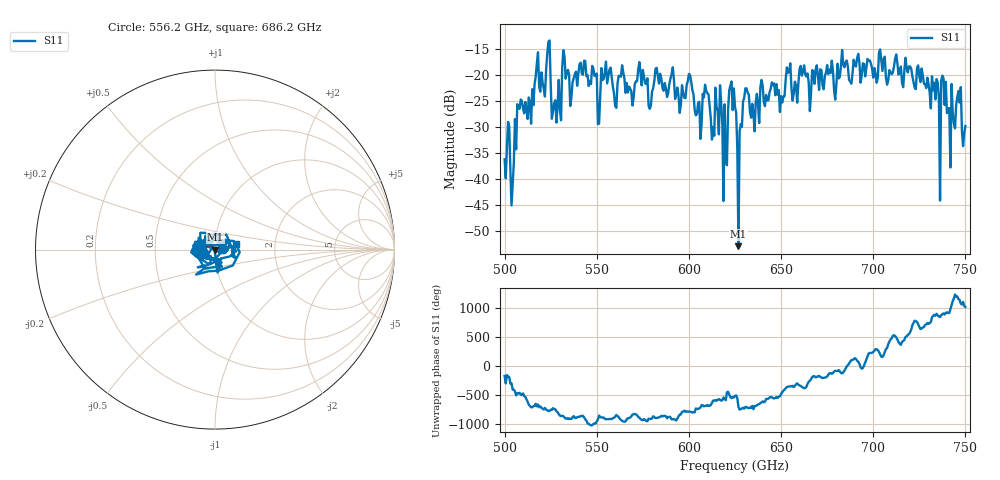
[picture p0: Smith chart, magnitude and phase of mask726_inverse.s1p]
!Created with skrf (http://scikit-rf.org).
# GHz S MA R 50.0
!freq magS11 angS11
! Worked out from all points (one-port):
!   401 points, 500 GHz to 750 GHz, reference 50 ohm
!   lowest |S11| = -52.8 dB at 626.9 GHz (marker M1), VSWR 1.00, Z = 50.2 + j0.0492 ohm
!   |S11| at or under -10 dB: start of sweep to end of sweep
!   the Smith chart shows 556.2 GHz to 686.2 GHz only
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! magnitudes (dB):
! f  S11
! 500 GHz  -36.2
! 504.4 GHz  -40.9
! 508.1 GHz  -26.5
! 513.1 GHz  -24.3
! 517.5 GHz  -17.7
! 523.8 GHz  -13.6
! 526.9 GHz  -25.3
! 531.2 GHz  -18.5
! 562.5 GHz  -20.1
! 593.8 GHz  -22.4
! 609.4 GHz  -23.0
! 612.5 GHz  -32.4
! 615.6 GHz  -26.9
! 619.4 GHz  -25.6
! 623.1 GHz  -21.2
! 625 GHz  -26.2
! 626.9 GHz  -52.8
! 630.6 GHz  -22.5
! 634.4 GHz  -25.5
! 656.2 GHz  -24.9
! 687.5 GHz  -21.2
! 718.8 GHz  -19.5
! 734.4 GHz  -20.7
! 735 GHz  -21.5
! 738.1 GHz  -20.6
! 743.1 GHz  -27.1
! 746.2 GHz  -23.0
! 750 GHz  -29.8
